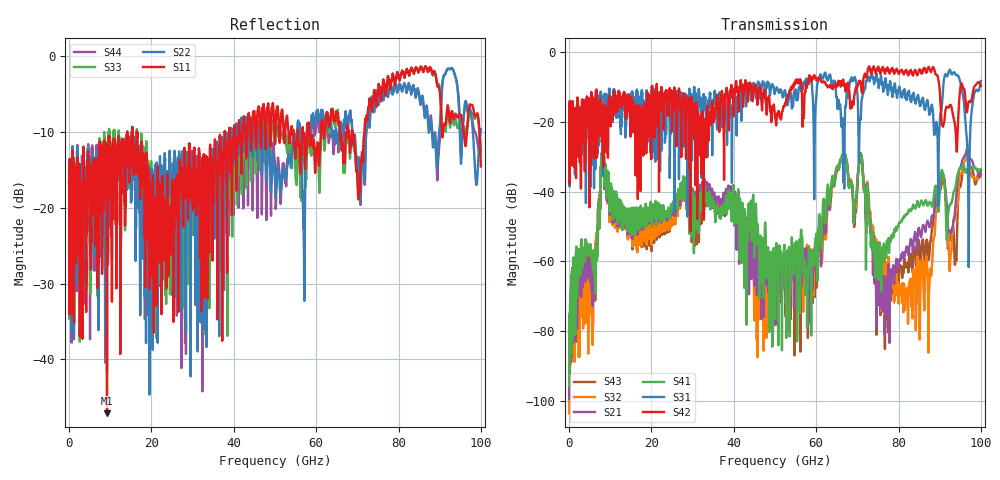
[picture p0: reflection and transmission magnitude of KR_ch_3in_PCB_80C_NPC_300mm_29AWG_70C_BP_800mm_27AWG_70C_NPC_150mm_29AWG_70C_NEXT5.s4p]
# Hz S RI R 45
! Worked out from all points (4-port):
!   4000 points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, 25 MHz to 100 GHz, reference 45 ohm
!   strongest paths, dB at 25 MHz, 25.02 GHz, 50.02 GHz, 75.03 GHz, 100 GHz:
!     S42: -20.7, -20.7, -18.8, -4.2, -9.7
!     S31: -20.7, -11.6, -11.3, -8.1, -8.3
!     S41: -95.8, -45.0, -71.0, -58.5, -33.6
!     S21: -99.5, -45.9, -65.8, -62.1, -35.0
!     S32: -103.7, -48.1, -70.0, -57.4, -35.3
!     S43: -98.3, -48.8, -70.7, -62.1, -34.1
!   lowest |S11| = -47.1 dB at 9.225 GHz (marker M1), VSWR 1.01, Z = 45.2 + j0.365 ohm
!   |S11| at or under -10 dB: start of sweep to 14.12 GHz; 16.48 GHz to 37.77 GHz (21.29 GHz wide, 78.5 % of centre); 68.84 GHz to 71.74 GHz (2.899 GHz wide, 4.12 % of centre) (the widest 3 of 32)
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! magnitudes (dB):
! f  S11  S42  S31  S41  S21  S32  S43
! 25 MHz  -16.4  -20.7  -20.7  -95.8  -99.5  -103.7  -98.3
! 9.225 GHz  -47.1  -28.9  -24.4  -38.1  -39.3  -40.2  -39.1
! 49.73 GHz  -8.3  -15.1  -10.1  -56.4  -57.0  -62.7  -62.8
! 70.78 GHz  -15.0  -8.4  -19.4  -29.1  -30.0  -29.6  -29.1
! 76.58 GHz  -4.1  -5.2  -9.0  -58.8  -67.7  -60.7  -64.7
! 96.9 GHz  -7.9  -14.9  -35.3  -33.1  -28.7  -29.1  -34.3
! 100 GHz  -14.6  -9.7  -8.3  -33.6  -35.0  -35.3  -34.1
